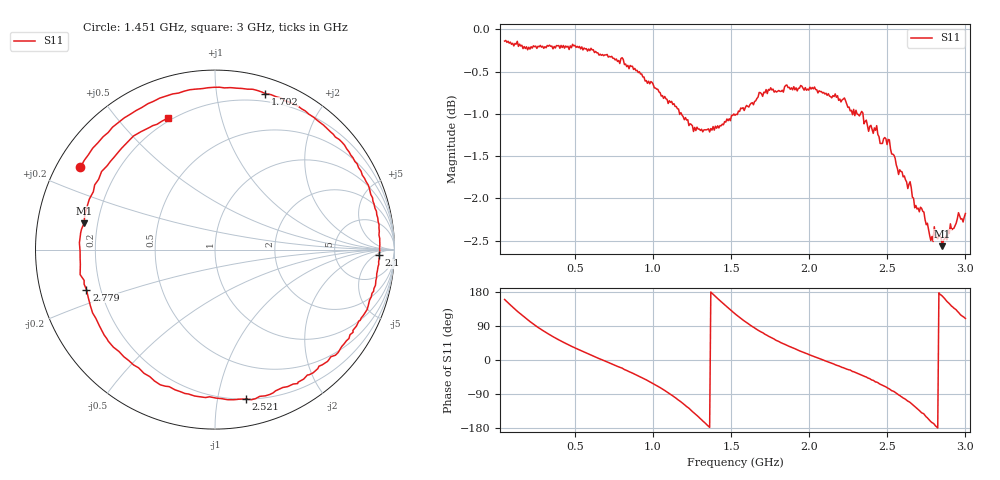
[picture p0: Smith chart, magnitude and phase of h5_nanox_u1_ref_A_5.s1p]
! nanovna_capture.py 2026-10-18T19:56:43+0900
! NanoVNA-F_V2 fw 0.6.0 SN 4A3639384505514B
! cal: load open short cal'ed  over 50000000-3000000000 Hz, 201 points
! points 401, avg 4
! h5 probe, tape spacer, genuine Nano X u1, position A (behind left button), placement 5
# HZ S RI R 50
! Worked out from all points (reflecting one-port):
!   401 points, 50 MHz to 3 GHz, reference 50 ohm
!   lowest |S11| = -2.6 dB at 2.853 GHz (marker M1), VSWR 6.82, Z = 7.4 + j4.9 ohm
!   phase of S11 starts at 160 deg and turns -770 deg over the sweep
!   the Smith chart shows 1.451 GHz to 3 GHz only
!   S11 on the Smith chart (normalised r, x): 1.451 GHz: 0.07, +0.28; 1.702 GHz: 0.13, +1.36; 2.1 GHz: 20, -8; 2.521 GHz: 0.20, -1.21; 2.779 GHz: 0.15, -0.15; 3 GHz: 0.19, +0.69
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5e7  -0.9231 0.3416
1.385e8  -0.5764 0.7891
2.19625e8  -0.1559 0.9642
3.08125e8  0.2636 0.9406
4.1875e8  0.6454 0.7317
6.03125e8  0.9498 0.2185
7.875e8  0.9002 -0.3177
8.98125e8  0.7188 -0.6147
1.001375e9  0.4294 -0.8223
1.15625e9  -0.2131 -0.8719
1.23e9  -0.5307 -0.6985
1.3185e9  -0.8217 -0.2854
1.384875e9  -0.8703 0.0996
1.45125e9  -0.7496 0.4576
1.525e9  -0.4694 0.7557
1.606125e9  -0.1089 0.894
1.702e9  0.2792 0.8691
1.89375e9  0.7795 0.4905
2.10025e9  0.9153 -0.0306
2.2625e9  0.8018 -0.3976
2.3805e9  0.5791 -0.6498
2.520625e9  0.1703 -0.8324
2.63125e9  -0.2554 -0.7635
2.71975e9  -0.594 -0.5111
2.77875e9  -0.7162 -0.2227
2.8525e9  -0.7295 0.1475
2.918875e9  -0.5842 0.4895
3e9  -0.2612 0.733
